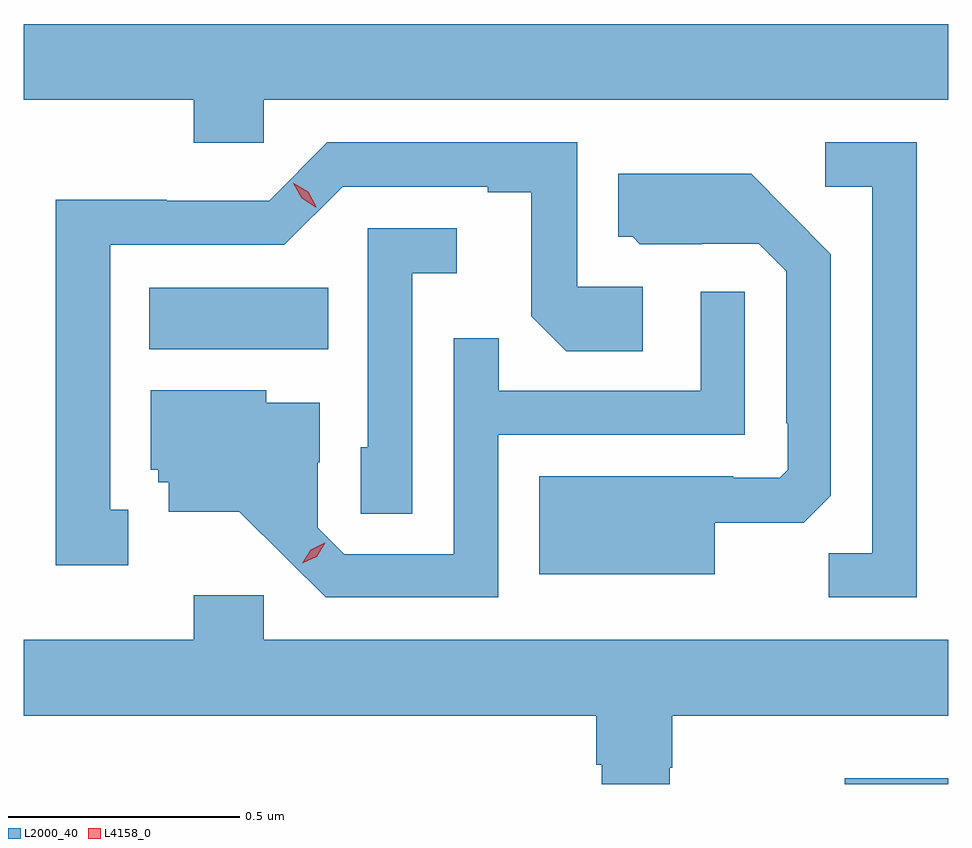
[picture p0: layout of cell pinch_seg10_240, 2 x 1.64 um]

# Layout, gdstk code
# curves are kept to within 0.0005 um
import gdstk
lib = gdstk.Library(unit=1e-6, precision=1e-09)
def R(c, l, rs):  # rectangles x0, y0, x1, y1
    for r in rs: c.add(gdstk.rectangle(r[:2], r[2:], *l))
def P(c, l, *ps):  # polygons
    for p in ps: c.add(gdstk.Polygon(p, *l))
L2000_40 = (2000, 40)
L4158_0 = (4158, 0)

pinch_seg10_240 = lib.new_cell('pinch_seg10_240')
R(pinch_seg10_240, L2000_40, [(623.721,1300.168,623.945,1300.18), (622.217,1301.108,622.604,1301.242)])
P(pinch_seg10_240, L2000_40, [(622.464,1301.648),(623.945,1301.648),(623.945,1301.812),(621.945,1301.812),(621.945,1301.648),(622.313,1301.648),(622.313,1301.555),(622.464,1301.555)],
  [(623.877,1301.556),(623.679,1301.556),(623.679,1301.46),(623.781,1301.46),(623.781,1300.667),(623.686,1300.667),(623.686,1300.572),(623.877,1300.572)],
  [(622.171,1300.761),(622.132,1300.761),(622.132,1301.334),(622.509,1301.334),(622.635,1301.46),(622.949,1301.46),(622.949,1301.448),(623.043,1301.448),(623.043,1301.18),(623.119,1301.104),(623.284,1301.104),(623.284,1301.244),(623.142,1301.244),(623.142,1301.556),(622.602,1301.556),(622.476,1301.43),(622.254,1301.43),(622.254,1301.432),(622.014,1301.432),(622.014,1300.641),(622.171,1300.641)],
  [(623.44,1300.733),(623.632,1300.733),(623.691,1300.792),(623.691,1301.314),(623.519,1301.488),(623.231,1301.488),(623.231,1301.352),(623.262,1301.352),(623.278,1301.336),(623.412,1301.336),(623.412,1301.337),(623.535,1301.337),(623.595,1301.277),(623.595,1300.948),(623.598,1300.948),(623.598,1300.848),(623.58,1300.83),(623.48,1300.83),(623.48,1300.834),(623.06,1300.834),(623.06,1300.622),(623.44,1300.622)],
  [(622.785,1301.273),(622.882,1301.273),(622.882,1301.37),(622.689,1301.37),(622.689,1300.896),(622.674,1300.896),(622.674,1300.753),(622.785,1300.753)],
  [(622.971,1300.923),(623.505,1300.923),(623.505,1301.233),(623.409,1301.233),(623.409,1301.019),(622.973,1301.019),(622.973,1301.132),(622.875,1301.132),(622.875,1300.665),(622.638,1300.665),(622.581,1300.722),(622.581,1300.864),(622.585,1300.864),(622.585,1300.993),(622.47,1300.993),(622.47,1301.02),(622.22,1301.02),(622.22,1300.848),(622.236,1300.848),(622.236,1300.821),(622.259,1300.821),(622.259,1300.757),(622.411,1300.757),(622.598,1300.572),(622.971,1300.572)],
  [(623.343,1300.203),(623.348,1300.203),(623.348,1300.316),(623.945,1300.316),(623.945,1300.48),(622.464,1300.48),(622.464,1300.576),(622.313,1300.576),(622.313,1300.48),(621.945,1300.48),(621.945,1300.316),(623.183,1300.316),(623.183,1300.21),(623.195,1300.21),(623.195,1300.168),(623.343,1300.168)])
P(pinch_seg10_240, L4158_0, [(622.548,1300.645),(622.548,1300.645),(622.566,1300.675),(622.596,1300.69),(622.597,1300.69),(622.597,1300.69),(622.579,1300.66),(622.548,1300.645)],
  [(622.577,1301.416),(622.546,1301.435),(622.528,1301.468),(622.528,1301.468),(622.529,1301.468),(622.56,1301.449),(622.578,1301.417),(622.578,1301.416)])

lib.write_gds('pinch_seg10_240.gds')
